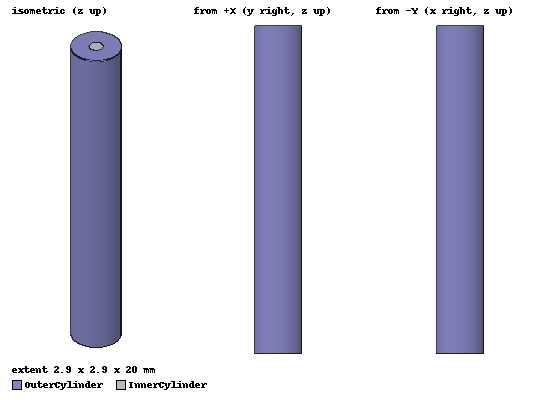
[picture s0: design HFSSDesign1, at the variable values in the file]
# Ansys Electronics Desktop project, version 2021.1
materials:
  vacuum: permittivity=1
  polyethylene: permittivity=2.25 dielectric_loss_tangent=0.001
  pec: conductivity=1e+30

design HFSSDesign1 (HFSS, DrivenModal, model units mm)
options: Calculate_Lossy_Dielectrics Save_Adaptive_support_files
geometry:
  InnerCylinder [pec] = cylinder(axis=Z, base_centre=(0mm, 0mm, 0mm), radius=(0.81/2) mm, height=20mm)
  OuterCylinder [polyethylene] = cylinder(axis=Z, base_centre=(0mm, 0mm, 0mm), radius=(2.9/2) mm, height=20mm)
  InnerCylinder_1 = InnerCylinder.copy()
  OuterCylinder.subtract(InnerCylinder_1)
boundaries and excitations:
  OuterFace: Perfect E Faces=OuterCylinder.face(1 of 3)
  1: Wave Port Faces=OuterCylinder.face(3 of 3) NumModes=2 Modes{Mode1{CharImp=Zpi} Mode2{CharImp=Zpi}}
  2: Wave Port Faces=OuterCylinder.face(2 of 3) NumModes=2 Modes{Mode1{CharImp=Zpi} Mode2{CharImp=Zpi}}
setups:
  Setup1: HfssDriven Frequency=35GHz MaxDeltaS=0.02 MaximumPasses=10 MinimumPasses=1 MinimumConvergedPasses=1 PercentRefinement=30 BasisOrder=1 PortAccuracy=2
    sweep Sweep: 0.5GHz to 40GHz step 0.02GHz; Type=Interpolating InterpTolerance=0.5 InterpMaxSolns=250 InterpUsePortImped=false PassivityErrorTolerance=0.0001
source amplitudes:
  1:1: 1 0deg
  1:2, 2:1, 2:2: 0W 0deg
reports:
  XY Plot 1: im(Gamma(1:1)), im(Gamma(1:2)) vs Freq on Setup1 : Sweep
  XY Plot 2: re(Gamma(1:1)), re(Gamma(1:2)) vs Freq on Setup1 : Sweep
  S Parameter Plot 1: dB(S(1:1,1:1)), dB(S(1:2,1:1)), dB(S(2:1,1:1)), dB(S(2:2,1:1)), dB(S(1:1,1:2)), dB(S(1:2,1:2)), dB(S(2:1,1:2)), dB(S(2:2,1:2)), dB(S(1:1,2:1)), dB(S(1:2,2:1)), dB(S(2:1,2:1)), dB(S(2:2,2:1)), dB(S(1:1,2:2)), dB(S(1:2,2:2)), dB(S(2:1,2:2)), dB(S(2:2,2:2)) vs Freq on Setup1 : Sweep
